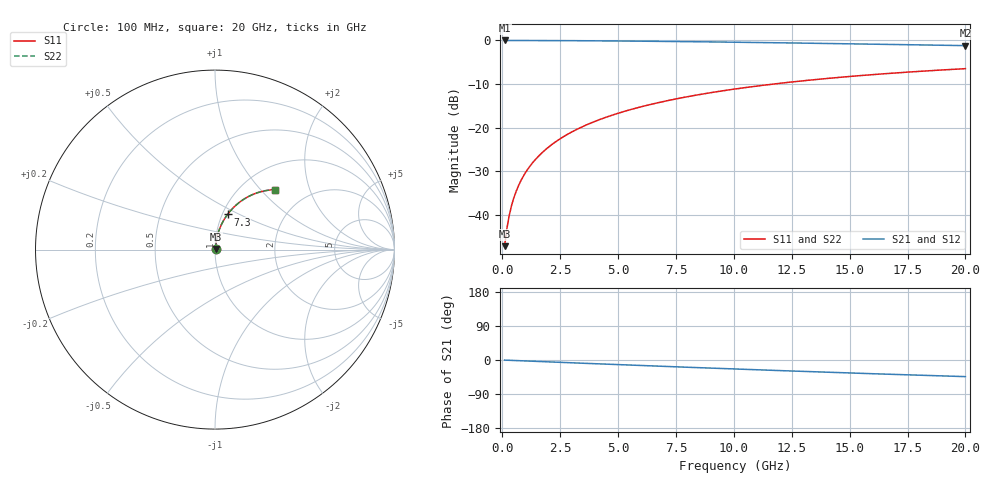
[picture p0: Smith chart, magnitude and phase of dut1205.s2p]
! Touchstone file exported from HFSS 2026.1.0
!  File:  C:/ffzhzh/LocalFiles/Ansys_Project_Files/temp_train_BSMRDL_1205_1783176554_18472.aedt
!  Generated:  10:50:27 PM Jul  4, 2026
!  Design:  BSMRDL
!  Project:  temp_train_BSMRDL_1205_1783176554_18472
! Variables:
!  h_bsmrdl = 4.28um
!  h_ox = 20um
!  h_rdl = 5um
!  h_sub = 80um
!  h_tmrdl = 5um
!  h_tsv = 80um
!  h_via = 3um
!  l_bsmrdl = 585.93um
!  l_sub = 985.93um
!  l_tmrdl = 200um
!  m_sub = 200um
!  pitch = 56.01um
!  r_tsv = 6um
!  s_tmrdl = 10um
!  w_bsmrdl = 16.53um
!  w_sub = 500um
!  w_tmrdl = 12um
!  x_tsv_center1 = 206um
!  x_tsv_center2 = 808.46um
!  x_tsv_center3 = 1020.46um
!  x_tsv_center4 = 1622.92um
!  x_tsv_center5 = 1834.92um
!  x_tsv_center6 = 2437.38um
# GHz S MA R 50.000000
! Terminal data exported
! Port[1] = BSM_RDL1_1_T1
! Port[2] = BSM_RDL1_1_T2
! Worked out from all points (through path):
!   200 points, 100 MHz to 20 GHz, reference 50 ohm
!   highest |S21| = -0.03 dB at 100 MHz (marker M1); lowest = -1.2 dB at 20 GHz (marker M2)
!   group delay of S21, straight-line fit = 6.1 ps
!   lowest |S11| = -47.2 dB at 100 MHz (marker M3), VSWR 1.01, Z = 50.3 + j0.315 ohm
!   |S11| at or under -10 dB: start of sweep to 11.74 GHz
!   |S22| runs from -47.2 to -6.5 dB; largest |S21 - S12| = 3.6e-15
!   S11 on the Smith chart (normalised r, x): 100 MHz: 1.01, +0.01; 7.3 GHz: 1.06, +0.43; 20 GHz: 1.40, +1.21
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0.1  0.004373 45.7  0.997 -0.3  0.997 -0.3  0.004373 45.7
! Gamma 0 0 0 0
! Port Impedance 50 0 50 0
0.2  0.006987 62.9  0.9968 -0.5  0.9968 -0.5  0.006987 62.9
0.3  0.009853 70.1  0.9967 -0.8  0.9967 -0.8  0.009853 70.1
0.4  0.01277 73.9  0.9966 -1.0  0.9966 -1.0  0.01277 73.9
0.5  0.0157 76.1  0.9965 -1.3  0.9965 -1.3  0.0157 76.1
0.7  0.02157 78.7  0.9962 -1.7  0.9962 -1.7  0.02157 78.7
0.8  0.02451 79.5  0.9961 -2.0  0.9961 -2.0  0.02451 79.5
1  0.03039 80.5  0.9959 -2.5  0.9959 -2.5  0.03039 80.5
1.4  0.04218 81.2  0.9953 -3.5  0.9953 -3.5  0.04218 81.2
1.7  0.05103 81.3  0.9948 -4.2  0.9948 -4.2  0.05103 81.3
2  0.05985 81.1  0.9941 -4.9  0.9941 -4.9  0.05985 81.1
2.7  0.08034 80.1  0.9923 -6.7  0.9923 -6.7  0.08034 80.1
3.5  0.1035 78.6  0.9897 -8.6  0.9897 -8.6  0.1035 78.6
4.2  0.1234 77.2  0.9869 -10.3  0.9869 -10.3  0.1234 77.2
5  0.1459 75.5  0.9833 -12.2  0.9833 -12.2  0.1459 75.5
6.8  0.1948 71.5  0.9737 -16.4  0.9737 -16.4  0.1948 71.5
7.3  0.2079 70.4  0.9707 -17.5  0.9707 -17.5  0.2079 70.4
8.6  0.2412 67.6  0.9623 -20.5  0.9623 -20.5  0.2412 67.6
10.1  0.2781 64.3  0.9518 -23.9  0.9518 -23.9  0.2781 64.3
13.4  0.3526 57.5  0.926 -30.9  0.926 -30.9  0.3526 57.5
16.7  0.4178 51.0  0.8981 -37.6  0.8981 -37.6  0.4178 51.0
20  0.4737 44.8  0.8699 -43.9  0.8699 -43.9  0.4737 44.8
